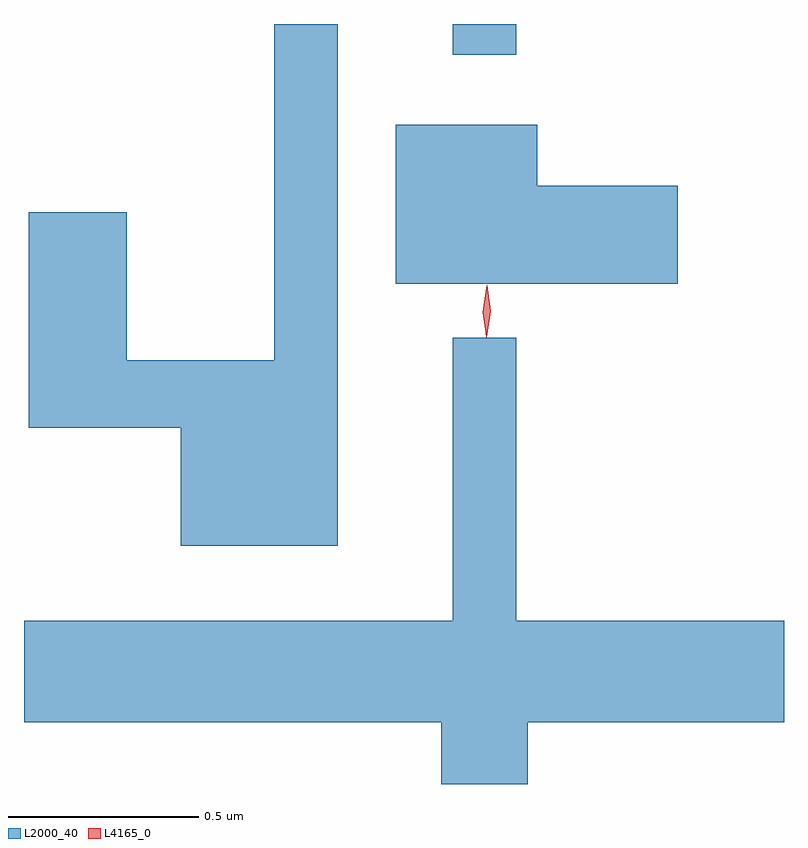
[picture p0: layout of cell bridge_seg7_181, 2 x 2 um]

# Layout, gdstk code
import gdstk
lib = gdstk.Library(unit=1e-6, precision=1e-09)
def R(c, l, rs):  # rectangles x0, y0, x1, y1
    for r in rs: c.add(gdstk.rectangle(r[:2], r[2:], *l))
def P(c, l, *ps):  # polygons
    for p in ps: c.add(gdstk.Polygon(p, *l))
L2000_40 = (2000, 40)
L4165_0 = (4165, 0)

bridge_seg7_181 = lib.new_cell('bridge_seg7_181')
R(bridge_seg7_181, L2000_40, [(1501.391,1684.993,1501.559,1685.074)])
P(bridge_seg7_181, L2000_40, [(1501.089,1685.074),(1500.921,1685.074),(1500.921,1684.189),(1500.534,1684.189),(1500.534,1684.579),(1500.276,1684.579),(1500.276,1684.011),(1500.676,1684.011),(1500.676,1683.701),(1501.089,1683.701)],
  [(1501.984,1684.649),(1501.614,1684.649),(1501.614,1684.809),(1501.241,1684.809),(1501.241,1684.391),(1501.984,1684.391)],
  [(1501.589,1683.236),(1502.263,1683.236),(1502.263,1683.504),(1501.559,1683.504),(1501.559,1684.248),(1501.391,1684.248),(1501.391,1683.504),(1500.263,1683.504),(1500.263,1683.236),(1501.361,1683.236),(1501.361,1683.074),(1501.589,1683.074)])
P(bridge_seg7_181, L4165_0, [(1501.48,1684.25),(1501.48,1684.25),(1501.471,1684.318),(1501.481,1684.386),(1501.482,1684.386),(1501.482,1684.386),(1501.491,1684.318),(1501.481,1684.25)],
  [(1501.48,1684.253),(1501.48,1684.253),(1501.47,1684.316),(1501.479,1684.379),(1501.48,1684.38),(1501.48,1684.379),(1501.49,1684.316),(1501.481,1684.253)])

lib.write_gds('bridge_seg7_181.gds')
